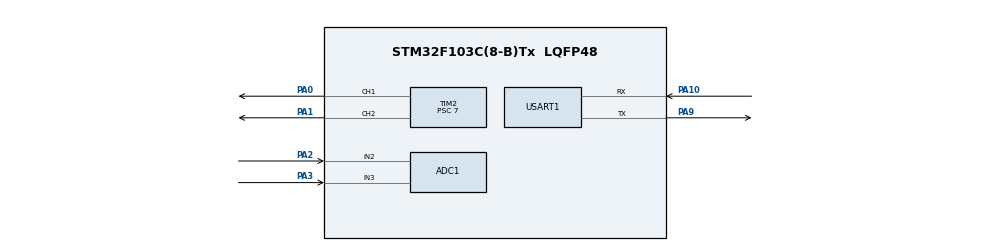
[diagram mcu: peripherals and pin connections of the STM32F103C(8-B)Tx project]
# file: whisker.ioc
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ADC1.Channel-0\#ChannelRegularConversion=ADC_CHANNEL_2
ADC1.NbrOfConversionFlag=1
ADC1.Rank-0\#ChannelRegularConversion=1
ADC1.SamplingTime-0\#ChannelRegularConversion=ADC_SAMPLETIME_1CYCLE_5
ADC1.master=1
Mcu.Family=STM32F1
Mcu.Name=STM32F103C(8-B)Tx
Mcu.Package=LQFP48
NVIC.PriorityGroup=NVIC_PRIORITYGROUP_4
PA0-WKUP.Signal=S_TIM2_CH1_ETR
PA1.Signal=S_TIM2_CH2
PA10.Mode=Asynchronous
PA10.Signal=USART1_RX
PA13.Mode=Serial_Wire
PA13.Signal=SYS_JTMS-SWDIO
PA14.Mode=Serial_Wire
PA14.Signal=SYS_JTCK-SWCLK
PA2.Signal=ADCx_IN2
PA3.Signal=ADCx_IN3
PA9.Mode=Asynchronous
PA9.Signal=USART1_TX
ProjectManager.HeapSize=0x200
ProjectManager.StackSize=0x400
ProjectManager.TargetToolchain=CMake
RCC.APB1Freq_Value=8000000
RCC.APB2Freq_Value=8000000
SH.ADCx_IN2.0=ADC1_IN2,IN2
SH.ADCx_IN3.0=ADC1_IN3,IN3
SH.S_TIM2_CH1_ETR.0=TIM2_CH1,PWM Generation1 CH1
SH.S_TIM2_CH2.0=TIM2_CH2,PWM Generation2 CH2
TIM2.AutoReloadPreload=TIM_AUTORELOAD_PRELOAD_ENABLE
TIM2.Channel-PWM\ Generation1\ CH1=TIM_CHANNEL_1
TIM2.Channel-PWM\ Generation2\ CH2=TIM_CHANNEL_2
TIM2.Period=19999
TIM2.Prescaler=7
USART1.VirtualMode=VM_ASYNC
VP_TIM2_VS_ClockSourceINT.Mode=Internal
board=custom

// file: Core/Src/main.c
/* USER CODE BEGIN Header */
/**
  ******************************************************************************
  * @file           : main.c
  * @brief          : Main program body
  ******************************************************************************
  * @attention
  *
  * Copyright (c) 2026 STMicroelectronics.
  * All rights reserved.
  *
  * This software is licensed under terms that can be found in the LICENSE file
  * in the root directory of this software component.
  * If no LICENSE file comes with this software, it is provided AS-IS.
  *
  ******************************************************************************
  */
/* USER CODE END Header */
#include "main.h"

/* USER CODE BEGIN Includes */
#include <stdio.h>
#include <stdlib.h>
#include <string.h>

/* USER CODE END Includes */

/* USER CODE BEGIN PD */
#define SECTOR_COUNT        10
#define SERVO_MIN_DEG       9.0f
#define SERVO_MAX_DEG       171.0f
#define SERVO_MIN_US        500.0f
#define SERVO_MAX_US        2500.0f
#define SERVO_LEFT_INVERT   0
#define SERVO_RIGHT_INVERT  1
#define SERVO_LEFT_TRIM     0.0f
#define SERVO_RIGHT_TRIM    0.0f
#define SERVO_SETTLE_MS     500
#define ADC_SAMPLE_COUNT    10
#define UART_LINE_LEN       64

/* USER CODE END PD */

ADC_HandleTypeDef hadc1;

TIM_HandleTypeDef htim2;

UART_HandleTypeDef huart1;

void SystemClock_Config(void);
static void MX_GPIO_Init(void);
static void MX_ADC1_Init(void);
static void MX_TIM2_Init(void);
static void MX_USART1_UART_Init(void);
/* USER CODE BEGIN PFP */
static float sector_to_angle(int sector);
static float apply_servo_calibration(float angle, uint8_t invert, float trim_deg);
static uint32_t angle_to_compare(float angle);
static void set_whisker_servos(int left_sector, int right_sector);
static uint16_t read_adc_channel(uint32_t channel);
static void handle_command_line(char *line);
static HAL_StatusTypeDef uart_read_line(char *buffer, size_t buffer_len);
static void uart_write_text(const char *text);

/* USER CODE END PFP */

/* USER CODE BEGIN 0 */
static float sector_to_angle(int sector)
{
  if (sector < 0)
  {
    sector = 0;
  }
  if (sector >= SECTOR_COUNT)
  {
    sector = SECTOR_COUNT - 1;
  }

  if (SECTOR_COUNT <= 1)
  {
    return 90.0f;
  }

  return SERVO_MIN_DEG
      + ((float)sector * (SERVO_MAX_DEG - SERVO_MIN_DEG))
      / (float)(SECTOR_COUNT - 1);
}

static float apply_servo_calibration(float angle, uint8_t invert, float trim_deg)
{
  if (invert)
  {
    angle = 180.0f - angle;
  }
  angle += trim_deg;

  if (angle < 0.0f)
  {
    angle = 0.0f;
  }
  if (angle > 180.0f)
  {
    angle = 180.0f;
  }
  return angle;
}

static uint32_t angle_to_compare(float angle)
{
  float pulse_us = SERVO_MIN_US
      + (angle / 180.0f) * (SERVO_MAX_US - SERVO_MIN_US);
  return (uint32_t)(pulse_us + 0.5f);
}

static void set_whisker_servos(int left_sector, int right_sector)
{
  float left_angle = sector_to_angle(left_sector);
  float right_angle = sector_to_angle(right_sector);

  left_angle = apply_servo_calibration(left_angle, SERVO_LEFT_INVERT, SERVO_LEFT_TRIM);
  right_angle = apply_servo_calibration(right_angle, SERVO_RIGHT_INVERT, SERVO_RIGHT_TRIM);

  __HAL_TIM_SET_COMPARE(&htim2, TIM_CHANNEL_1, angle_to_compare(left_angle));
  __HAL_TIM_SET_COMPARE(&htim2, TIM_CHANNEL_2, angle_to_compare(right_angle));
}

static uint16_t read_adc_channel(uint32_t channel)
{
  ADC_ChannelConfTypeDef sConfig = {0};
  uint32_t sum = 0;

  sConfig.Channel = channel;
  sConfig.Rank = ADC_REGULAR_RANK_1;
  sConfig.SamplingTime = ADC_SAMPLETIME_71CYCLES_5;

  if (HAL_ADC_ConfigChannel(&hadc1, &sConfig) != HAL_OK)
  {
    Error_Handler();
  }

  for (int i = 0; i < ADC_SAMPLE_COUNT; ++i)
  {
    if (HAL_ADC_Start(&hadc1) != HAL_OK)
    {
      Error_Handler();
    }
    if (HAL_ADC_PollForConversion(&hadc1, HAL_MAX_DELAY) != HAL_OK)
    {
      Error_Handler();
    }
    sum += HAL_ADC_GetValue(&hadc1);
    HAL_ADC_Stop(&hadc1);
    HAL_Delay(5);
  }

  return (uint16_t)(sum / ADC_SAMPLE_COUNT);
}

static void handle_command_line(char *line)
{
  int left_sector = 0;
  int right_sector = 0;
  char response[128];

  if (sscanf(line, "STEP %d %d", &left_sector, &right_sector) != 2)
  {
    uart_write_text("{\"error\":\"expected STEP left_sector right_sector\"}\r\n");
    return;
  }

  if (
      left_sector < 0 || left_sector >= SECTOR_COUNT ||
      right_sector < 0 || right_sector >= SECTOR_COUNT
  )
  {
    snprintf(
        response,
        sizeof(response),
        "{\"error\":\"sector out of range\",\"min\":0,\"max\":%d}\r\n",
        SECTOR_COUNT - 1
    );
    uart_write_text(response);
    return;
  }

  set_whisker_servos(left_sector, right_sector);
  HAL_Delay(SERVO_SETTLE_MS);

  uint16_t left_adc = read_adc_channel(ADC_CHANNEL_2);   /* PA2 / ADC1_IN2 */
  uint16_t right_adc = read_adc_channel(ADC_CHANNEL_3);  /* PA3 / ADC1_IN3 */

  snprintf(
      response,
      sizeof(response),
      "{\"left_sector\":%d,\"right_sector\":%d,\"left_adc\":%u,\"right_adc\":%u}\r\n",
      left_sector,
      right_sector,
      left_adc,
      right_adc
  );
  uart_write_text(response);
}

static HAL_StatusTypeDef uart_read_line(char *buffer, size_t buffer_len)
{
  size_t idx = 0;
  uint8_t ch = 0;

  if (buffer_len == 0)
  {
    return HAL_ERROR;
  }

  while (idx < buffer_len - 1)
  {
    HAL_StatusTypeDef status = HAL_UART_Receive(&huart1, &ch, 1, HAL_MAX_DELAY);
    if (status != HAL_OK)
    {
      buffer[idx] = '\0';
      return status;
    }

    if (ch == '\n')
    {
      break;
    }
    if (ch == '\r')
    {
      continue;
    }

    buffer[idx++] = (char)ch;
  }

  buffer[idx] = '\0';
  return HAL_OK;
}

static void uart_write_text(const char *text)
{
  HAL_UART_Transmit(&huart1, (uint8_t *)text, strlen(text), HAL_MAX_DELAY);
}

/* USER CODE END 0 */

int main(void)
{

  /* MCU Configuration--------------------------------------------------------*/

  /* Reset of all peripherals, Initializes the Flash interface and the Systick. */
  HAL_Init();

  /* Configure the system clock */
  SystemClock_Config();

  /* Initialize all configured peripherals */
  MX_GPIO_Init();
  MX_ADC1_Init();
  MX_TIM2_Init();
  MX_USART1_UART_Init();
  /* USER CODE BEGIN 2 */
  HAL_TIM_PWM_Start(&htim2, TIM_CHANNEL_1);
  HAL_TIM_PWM_Start(&htim2, TIM_CHANNEL_2);
  set_whisker_servos(0, 0);
  uart_write_text("{\"status\":\"ready\"}\r\n");

  /* USER CODE END 2 */

  /* Infinite loop */
  while (1)
  {

    /* USER CODE BEGIN 3 */
    char line[UART_LINE_LEN];
    if (uart_read_line(line, sizeof(line)) == HAL_OK)
    {
      handle_command_line(line);
    }
  }
  /* USER CODE END 3 */
}

void SystemClock_Config(void)
{
  RCC_OscInitTypeDef RCC_OscInitStruct = {0};
  RCC_ClkInitTypeDef RCC_ClkInitStruct = {0};
  RCC_PeriphCLKInitTypeDef PeriphClkInit = {0};

  /** Initializes the RCC Oscillators according to the specified parameters
  * in the RCC_OscInitTypeDef structure.
  */
  RCC_OscInitStruct.OscillatorType = RCC_OSCILLATORTYPE_HSI;
  RCC_OscInitStruct.HSIState = RCC_HSI_ON;
  RCC_OscInitStruct.HSICalibrationValue = RCC_HSICALIBRATION_DEFAULT;
  RCC_OscInitStruct.PLL.PLLState = RCC_PLL_NONE;
  if (HAL_RCC_OscConfig(&RCC_OscInitStruct) != HAL_OK)
  {
    Error_Handler();
  }

  /** Initializes the CPU, AHB and APB buses clocks
  */
  RCC_ClkInitStruct.ClockType = RCC_CLOCKTYPE_HCLK|RCC_CLOCKTYPE_SYSCLK
                              |RCC_CLOCKTYPE_PCLK1|RCC_CLOCKTYPE_PCLK2;
  RCC_ClkInitStruct.SYSCLKSource = RCC_SYSCLKSOURCE_HSI;
  RCC_ClkInitStruct.AHBCLKDivider = RCC_SYSCLK_DIV1;
  RCC_ClkInitStruct.APB1CLKDivider = RCC_HCLK_DIV1;
  RCC_ClkInitStruct.APB2CLKDivider = RCC_HCLK_DIV1;

  if (HAL_RCC_ClockConfig(&RCC_ClkInitStruct, FLASH_LATENCY_0) != HAL_OK)
  {
    Error_Handler();
  }
  PeriphClkInit.PeriphClockSelection = RCC_PERIPHCLK_ADC;
  PeriphClkInit.AdcClockSelection = RCC_ADCPCLK2_DIV2;
  if (HAL_RCCEx_PeriphCLKConfig(&PeriphClkInit) != HAL_OK)
  {
    Error_Handler();
  }
}

static void MX_ADC1_Init(void)
{

  ADC_ChannelConfTypeDef sConfig = {0};

  /** Common config
  */
  hadc1.Instance = ADC1;
  hadc1.Init.ScanConvMode = ADC_SCAN_DISABLE;
  hadc1.Init.ContinuousConvMode = DISABLE;
  hadc1.Init.DiscontinuousConvMode = DISABLE;
  hadc1.Init.ExternalTrigConv = ADC_SOFTWARE_START;
  hadc1.Init.DataAlign = ADC_DATAALIGN_RIGHT;
  hadc1.Init.NbrOfConversion = 1;
  if (HAL_ADC_Init(&hadc1) != HAL_OK)
  {
    Error_Handler();
  }

  /** Configure Regular Channel
  */
  sConfig.Channel = ADC_CHANNEL_2;
  sConfig.Rank = ADC_REGULAR_RANK_1;
  sConfig.SamplingTime = ADC_SAMPLETIME_1CYCLE_5;
  if (HAL_ADC_ConfigChannel(&hadc1, &sConfig) != HAL_OK)
  {
    Error_Handler();
  }

}

static void MX_TIM2_Init(void)
{

  TIM_ClockConfigTypeDef sClockSourceConfig = {0};
  TIM_MasterConfigTypeDef sMasterConfig = {0};
  TIM_OC_InitTypeDef sConfigOC = {0};

  htim2.Instance = TIM2;
  htim2.Init.Prescaler = 7;
  htim2.Init.CounterMode = TIM_COUNTERMODE_UP;
  htim2.Init.Period = 19999;
  htim2.Init.ClockDivision = TIM_CLOCKDIVISION_DIV1;
  htim2.Init.AutoReloadPreload = TIM_AUTORELOAD_PRELOAD_ENABLE;
  if (HAL_TIM_Base_Init(&htim2) != HAL_OK)
  {
    Error_Handler();
  }
  sClockSourceConfig.ClockSource = TIM_CLOCKSOURCE_INTERNAL;
  if (HAL_TIM_ConfigClockSource(&htim2, &sClockSourceConfig) != HAL_OK)
  {
    Error_Handler();
  }
  if (HAL_TIM_PWM_Init(&htim2) != HAL_OK)
  {
    Error_Handler();
  }
  sMasterConfig.MasterOutputTrigger = TIM_TRGO_RESET;
  sMasterConfig.MasterSlaveMode = TIM_MASTERSLAVEMODE_DISABLE;
  if (HAL_TIMEx_MasterConfigSynchronization(&htim2, &sMasterConfig) != HAL_OK)
  {
    Error_Handler();
  }
  sConfigOC.OCMode = TIM_OCMODE_PWM1;
  sConfigOC.Pulse = 0;
  sConfigOC.OCPolarity = TIM_OCPOLARITY_HIGH;
  sConfigOC.OCFastMode = TIM_OCFAST_DISABLE;
  if (HAL_TIM_PWM_ConfigChannel(&htim2, &sConfigOC, TIM_CHANNEL_1) != HAL_OK)
  {
    Error_Handler();
  }
  if (HAL_TIM_PWM_ConfigChannel(&htim2, &sConfigOC, TIM_CHANNEL_2) != HAL_OK)
  {
    Error_Handler();
  }
  HAL_TIM_MspPostInit(&htim2);

}

static void MX_USART1_UART_Init(void)
{

  huart1.Instance = USART1;
  huart1.Init.BaudRate = 115200;
  huart1.Init.WordLength = UART_WORDLENGTH_8B;
  huart1.Init.StopBits = UART_STOPBITS_1;
  huart1.Init.Parity = UART_PARITY_NONE;
  huart1.Init.Mode = UART_MODE_TX_RX;
  huart1.Init.HwFlowCtl = UART_HWCONTROL_NONE;
  huart1.Init.OverSampling = UART_OVERSAMPLING_16;
  if (HAL_UART_Init(&huart1) != HAL_OK)
  {
    Error_Handler();
  }

}

static void MX_GPIO_Init(void)
{

  /* GPIO Ports Clock Enable */
  __HAL_RCC_GPIOA_CLK_ENABLE();

}

void Error_Handler(void)
{
  __disable_irq();
  while (1)
  {
  }
}
